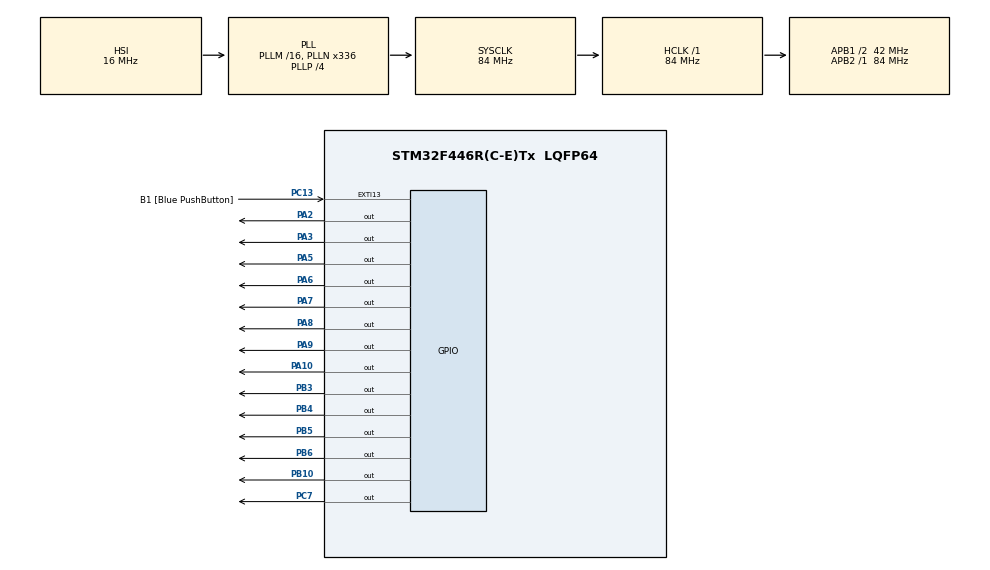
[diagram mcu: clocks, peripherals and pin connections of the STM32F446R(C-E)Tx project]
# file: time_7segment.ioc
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FREERTOS.Tasks01=LED1,0,128,LED1_display,Default,NULL,Dynamic,NULL,NULL;LED2,-3,128,LED2_display,Default,NULL,Dynamic,NULL,NULL;LED3,-3,128,LED3_display,Default,NULL,Dynamic,NULL,NULL;LED4,-3,128,LED4_display,Default,NULL,Dynamic,NULL,NULL;noIncrease,-3,128,StartTask05,Default,NULL,Dynamic,NULL,NULL
FREERTOS.configUSE_NEWLIB_REENTRANT=1
Mcu.Family=STM32F4
Mcu.Name=STM32F446R(C-E)Tx
Mcu.Package=LQFP64
NVIC.PriorityGroup=NVIC_PRIORITYGROUP_4
NVIC.TIM3_IRQn=true\:15\:0\:false\:false\:true\:false\:false\:true\:true
NVIC.TimeBase=TIM3_IRQn
NVIC.TimeBaseIP=TIM3
PA10.Signal=GPIO_Output
PA13.GPIO_Label=TMS
PA13.Mode=Serial_Wire
PA13.Signal=SYS_JTMS-SWDIO
PA14.GPIO_Label=TCK
PA14.Mode=Serial_Wire
PA14.Signal=SYS_JTCK-SWCLK
PA2.Signal=GPIO_Output
PA3.Signal=GPIO_Output
PA5.Signal=GPIO_Output
PA6.Signal=GPIO_Output
PA7.Signal=GPIO_Output
PA8.Signal=GPIO_Output
PA9.Signal=GPIO_Output
PB10.Signal=GPIO_Output
PB3.Signal=GPIO_Output
PB4.Signal=GPIO_Output
PB5.Signal=GPIO_Output
PB6.Signal=GPIO_Output
PC13.GPIO_Label=B1 [Blue PushButton]
PC13.GPIO_ModeDefaultEXTI=GPIO_MODE_IT_FALLING
PC13.Signal=GPXTI13
PC14-OSC32_IN.Mode=LSE-External-Oscillator
PC14-OSC32_IN.Signal=RCC_OSC32_IN
PC15-OSC32_OUT.Mode=LSE-External-Oscillator
PC15-OSC32_OUT.Signal=RCC_OSC32_OUT
PC7.Signal=GPIO_Output
PH0-OSC_IN.Mode=HSE-External-Oscillator
PH0-OSC_IN.Signal=RCC_OSC_IN
PH1-OSC_OUT.Mode=HSE-External-Oscillator
PH1-OSC_OUT.Signal=RCC_OSC_OUT
ProjectManager.HeapSize=0x200
ProjectManager.StackSize=0x400
ProjectManager.TargetToolchain=STM32CubeIDE
RCC.48MHZClocksFreq_Value=84000000
RCC.AHBFreq_Value=84000000
RCC.APB1CLKDivider=RCC_HCLK_DIV2
RCC.APB1Freq_Value=42000000
RCC.APB1TimFreq_Value=84000000
RCC.APB2Freq_Value=84000000
RCC.APB2TimFreq_Value=84000000
RCC.CortexFreq_Value=84000000
RCC.FLatency-AdvancedSettings=FLASH_LATENCY_2
RCC.HCLKFreq_Value=84000000
RCC.HSE_VALUE=8000000
RCC.HSI_VALUE=16000000
RCC.PLLN=336
RCC.PLLP=RCC_PLLP_DIV4
RCC.SYSCLKFreq_VALUE=84000000
RCC.SYSCLKSource=RCC_SYSCLKSOURCE_PLLCLK
RCC.USBFreq_Value=168000000
RCC.VCOOutputFreq_Value=336000000
VP_FREERTOS_VS_CMSIS_V1.Mode=CMSIS_V1
VP_SYS_VS_tim3.Mode=TIM3
board=NUCLEO-F446RE

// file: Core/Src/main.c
/* USER CODE BEGIN Header */
/**
  ******************************************************************************
  * @file           : main.c
  * @brief          : Main program body
  ******************************************************************************
  * @attention
  *
  * Copyright (c) 2023 STMicroelectronics.
  * All rights reserved.
  *
  * This software is licensed under terms that can be found in the LICENSE file
  * in the root directory of this software component.
  * If no LICENSE file comes with this software, it is provided AS-IS.
  *
  ******************************************************************************
  */
/* USER CODE END Header */
#include "main.h"
#include "cmsis_os.h"

/* USER CODE BEGIN PTD */
uint16_t x=0;
/* USER CODE END PTD */

osThreadId LED1Handle;
osThreadId LED2Handle;
osThreadId LED3Handle;
osThreadId LED4Handle;
osThreadId noIncreaseHandle;

void SystemClock_Config(void);
static void MX_GPIO_Init(void);
void LED1_display(void const * argument);
void LED2_display(void const * argument);
void LED3_display(void const * argument);
void LED4_display(void const * argument);
void StartTask05(void const * argument);

/* USER CODE BEGIN 0 */
void allhigh(){
	HAL_GPIO_WritePin(GPIOA, GPIO_PIN_6 | GPIO_PIN_5 | GPIO_PIN_10,GPIO_PIN_SET);
	HAL_GPIO_WritePin(GPIOB, GPIO_PIN_3 | GPIO_PIN_4 |GPIO_PIN_5 | GPIO_PIN_10, GPIO_PIN_SET);
}
void alllow(){
	HAL_GPIO_WritePin(GPIOA, GPIO_PIN_6 | GPIO_PIN_5 | GPIO_PIN_10,GPIO_PIN_RESET);
	HAL_GPIO_WritePin(GPIOB, GPIO_PIN_3 | GPIO_PIN_4 |GPIO_PIN_5 | GPIO_PIN_10, GPIO_PIN_RESET);
}
void display(int x){
	switch (x) {
	  case 0:
		allhigh();
		HAL_GPIO_WritePin(GPIOB, GPIO_PIN_10 ,GPIO_PIN_RESET);
		break;
	  case 1:
	    alllow();
	    HAL_GPIO_WritePin(GPIOA, GPIO_PIN_5 | GPIO_PIN_10 ,GPIO_PIN_SET);
	    break;

	  case 2:
	    allhigh();
	    HAL_GPIO_WritePin(GPIOB, GPIO_PIN_4,GPIO_PIN_RESET);
	    HAL_GPIO_WritePin(GPIOA, GPIO_PIN_10,GPIO_PIN_RESET);
	    break;

	  case 3:
		allhigh();
		HAL_GPIO_WritePin(GPIOB, GPIO_PIN_4 | GPIO_PIN_5,GPIO_PIN_RESET);
	    break;

	  case 4:
		alllow();
		HAL_GPIO_WritePin(GPIOA, GPIO_PIN_5 | GPIO_PIN_10 ,GPIO_PIN_SET);
		HAL_GPIO_WritePin(GPIOB, GPIO_PIN_4 | GPIO_PIN_10 ,GPIO_PIN_SET);
		break;

	  case 5:
		allhigh();
		HAL_GPIO_WritePin(GPIOA, GPIO_PIN_5,GPIO_PIN_RESET);
		HAL_GPIO_WritePin(GPIOB, GPIO_PIN_5,GPIO_PIN_RESET);
		break;

	  case 6:
		allhigh();
		HAL_GPIO_WritePin(GPIOA, GPIO_PIN_5,GPIO_PIN_RESET);
		break;

	  case 7:
		alllow();
		HAL_GPIO_WritePin(GPIOA, GPIO_PIN_5 | GPIO_PIN_6 | GPIO_PIN_10,GPIO_PIN_SET);
		break;

	  case 8:
		allhigh();
		break;

	  case 9:
		allhigh();
		HAL_GPIO_WritePin(GPIOB, GPIO_PIN_5,GPIO_PIN_RESET);
		break;

	  default:
	    alllow();
	    break;
	}
}

/* USER CODE END 0 */

int main(void)
{

  /* MCU Configuration--------------------------------------------------------*/

  /* Reset of all peripherals, Initializes the Flash interface and the Systick. */
  HAL_Init();

  /* Configure the system clock */
  SystemClock_Config();

  /* Initialize all configured peripherals */
  MX_GPIO_Init();

  /* Create the thread(s) */
  /* definition and creation of LED1 */
  osThreadDef(LED1, LED1_display, osPriorityNormal, 0, 128);
  LED1Handle = osThreadCreate(osThread(LED1), NULL);

  /* definition and creation of LED2 */
  osThreadDef(LED2, LED2_display, osPriorityIdle, 0, 128);
  LED2Handle = osThreadCreate(osThread(LED2), NULL);

  /* definition and creation of LED3 */
  osThreadDef(LED3, LED3_display, osPriorityIdle, 0, 128);
  LED3Handle = osThreadCreate(osThread(LED3), NULL);

  /* definition and creation of LED4 */
  osThreadDef(LED4, LED4_display, osPriorityIdle, 0, 128);
  LED4Handle = osThreadCreate(osThread(LED4), NULL);

  /* definition and creation of noIncrease */
  osThreadDef(noIncrease, StartTask05, osPriorityIdle, 0, 128);
  noIncreaseHandle = osThreadCreate(osThread(noIncrease), NULL);

  /* Start scheduler */
  osKernelStart();
  /* We should never get here as control is now taken by the scheduler */
  /* Infinite loop */
  while (1)
  {

  }
}

void SystemClock_Config(void)
{
  RCC_OscInitTypeDef RCC_OscInitStruct = {0};
  RCC_ClkInitTypeDef RCC_ClkInitStruct = {0};

  /** Configure the main internal regulator output voltage
  */
  __HAL_RCC_PWR_CLK_ENABLE();
  __HAL_PWR_VOLTAGESCALING_CONFIG(PWR_REGULATOR_VOLTAGE_SCALE3);

  /** Initializes the RCC Oscillators according to the specified parameters
  * in the RCC_OscInitTypeDef structure.
  */
  RCC_OscInitStruct.OscillatorType = RCC_OSCILLATORTYPE_HSI;
  RCC_OscInitStruct.HSIState = RCC_HSI_ON;
  RCC_OscInitStruct.HSICalibrationValue = RCC_HSICALIBRATION_DEFAULT;
  RCC_OscInitStruct.PLL.PLLState = RCC_PLL_ON;
  RCC_OscInitStruct.PLL.PLLSource = RCC_PLLSOURCE_HSI;
  RCC_OscInitStruct.PLL.PLLM = 16;
  RCC_OscInitStruct.PLL.PLLN = 336;
  RCC_OscInitStruct.PLL.PLLP = RCC_PLLP_DIV4;
  RCC_OscInitStruct.PLL.PLLQ = 2;
  RCC_OscInitStruct.PLL.PLLR = 2;
  if (HAL_RCC_OscConfig(&RCC_OscInitStruct) != HAL_OK)
  {
    Error_Handler();
  }

  /** Initializes the CPU, AHB and APB buses clocks
  */
  RCC_ClkInitStruct.ClockType = RCC_CLOCKTYPE_HCLK|RCC_CLOCKTYPE_SYSCLK
                              |RCC_CLOCKTYPE_PCLK1|RCC_CLOCKTYPE_PCLK2;
  RCC_ClkInitStruct.SYSCLKSource = RCC_SYSCLKSOURCE_PLLCLK;
  RCC_ClkInitStruct.AHBCLKDivider = RCC_SYSCLK_DIV1;
  RCC_ClkInitStruct.APB1CLKDivider = RCC_HCLK_DIV2;
  RCC_ClkInitStruct.APB2CLKDivider = RCC_HCLK_DIV1;

  if (HAL_RCC_ClockConfig(&RCC_ClkInitStruct, FLASH_LATENCY_2) != HAL_OK)
  {
    Error_Handler();
  }
}

static void MX_GPIO_Init(void)
{
  GPIO_InitTypeDef GPIO_InitStruct = {0};

  /* GPIO Ports Clock Enable */
  __HAL_RCC_GPIOC_CLK_ENABLE();
  __HAL_RCC_GPIOH_CLK_ENABLE();
  __HAL_RCC_GPIOA_CLK_ENABLE();
  __HAL_RCC_GPIOB_CLK_ENABLE();

  /*Configure GPIO pin Output Level */
  HAL_GPIO_WritePin(GPIOA, GPIO_PIN_2|GPIO_PIN_3|GPIO_PIN_5|GPIO_PIN_6
                          |GPIO_PIN_7|GPIO_PIN_8|GPIO_PIN_9|GPIO_PIN_10, GPIO_PIN_RESET);

  /*Configure GPIO pin Output Level */
  HAL_GPIO_WritePin(GPIOB, GPIO_PIN_10|GPIO_PIN_3|GPIO_PIN_4|GPIO_PIN_5
                          |GPIO_PIN_6, GPIO_PIN_RESET);

  /*Configure GPIO pin Output Level */
  HAL_GPIO_WritePin(GPIOC, GPIO_PIN_7, GPIO_PIN_RESET);

  /*Configure GPIO pin : B1_Pin */
  GPIO_InitStruct.Pin = B1_Pin;
  GPIO_InitStruct.Mode = GPIO_MODE_IT_FALLING;
  GPIO_InitStruct.Pull = GPIO_NOPULL;
  HAL_GPIO_Init(B1_GPIO_Port, &GPIO_InitStruct);

  /*Configure GPIO pins : PA2 PA3 PA5 PA6
                           PA7 PA8 PA9 PA10 */
  GPIO_InitStruct.Pin = GPIO_PIN_2|GPIO_PIN_3|GPIO_PIN_5|GPIO_PIN_6
                          |GPIO_PIN_7|GPIO_PIN_8|GPIO_PIN_9|GPIO_PIN_10;
  GPIO_InitStruct.Mode = GPIO_MODE_OUTPUT_PP;
  GPIO_InitStruct.Pull = GPIO_NOPULL;
  GPIO_InitStruct.Speed = GPIO_SPEED_FREQ_LOW;
  HAL_GPIO_Init(GPIOA, &GPIO_InitStruct);

  /*Configure GPIO pins : PB10 PB3 PB4 PB5
                           PB6 */
  GPIO_InitStruct.Pin = GPIO_PIN_10|GPIO_PIN_3|GPIO_PIN_4|GPIO_PIN_5
                          |GPIO_PIN_6;
  GPIO_InitStruct.Mode = GPIO_MODE_OUTPUT_PP;
  GPIO_InitStruct.Pull = GPIO_NOPULL;
  GPIO_InitStruct.Speed = GPIO_SPEED_FREQ_LOW;
  HAL_GPIO_Init(GPIOB, &GPIO_InitStruct);

  /*Configure GPIO pin : PC7 */
  GPIO_InitStruct.Pin = GPIO_PIN_7;
  GPIO_InitStruct.Mode = GPIO_MODE_OUTPUT_PP;
  GPIO_InitStruct.Pull = GPIO_NOPULL;
  GPIO_InitStruct.Speed = GPIO_SPEED_FREQ_LOW;
  HAL_GPIO_Init(GPIOC, &GPIO_InitStruct);

}

void LED1_display(void const * argument)
{
  /* USER CODE BEGIN 5 */
  /* Infinite loop */

  for(;;)
  {
	  HAL_GPIO_WritePin(GPIOC, GPIO_PIN_7 ,GPIO_PIN_SET);
	  HAL_GPIO_WritePin(GPIOA, GPIO_PIN_7 ,GPIO_PIN_SET);
	  HAL_GPIO_WritePin(GPIOB, GPIO_PIN_6 ,GPIO_PIN_SET);
	  HAL_GPIO_WritePin(GPIOA, GPIO_PIN_9 ,GPIO_PIN_RESET);
	  display(((x-x%1000)/1000)%10);

	  osDelay(4);
  }
  /* USER CODE END 5 */
}

void LED2_display(void const * argument)
{
  /* USER CODE BEGIN LED2_display */
  /* Infinite loop */
	osDelay(1);
  for(;;)
  {
	  HAL_GPIO_WritePin(GPIOC, GPIO_PIN_7 ,GPIO_PIN_RESET);
	  HAL_GPIO_WritePin(GPIOA, GPIO_PIN_7 ,GPIO_PIN_SET);
	  HAL_GPIO_WritePin(GPIOB, GPIO_PIN_6 ,GPIO_PIN_SET);
	  HAL_GPIO_WritePin(GPIOA, GPIO_PIN_9 ,GPIO_PIN_SET);
	  display(((x-x%100)/100)%10);
	  osDelay(4);
  }
  /* USER CODE END LED2_display */
}

void LED3_display(void const * argument)
{
  /* USER CODE BEGIN LED3_display */
  /* Infinite loop */
	osDelay(2);
  for(;;)
  {
	  HAL_GPIO_WritePin(GPIOC, GPIO_PIN_7 ,GPIO_PIN_SET);
	  HAL_GPIO_WritePin(GPIOA, GPIO_PIN_7 ,GPIO_PIN_SET);
	  HAL_GPIO_WritePin(GPIOB, GPIO_PIN_6 ,GPIO_PIN_RESET);
	  HAL_GPIO_WritePin(GPIOA, GPIO_PIN_9 ,GPIO_PIN_SET);
	  display(((x-x%10)/10)%10);
	  osDelay(4);
  }
  /* USER CODE END LED3_display */
}

void LED4_display(void const * argument)
{
  /* USER CODE BEGIN LED4_display */
  /* Infinite loop */
	osDelay(3);
  for(;;)
  {
	  HAL_GPIO_WritePin(GPIOC, GPIO_PIN_7 ,GPIO_PIN_SET);
	  HAL_GPIO_WritePin(GPIOA, GPIO_PIN_7 ,GPIO_PIN_RESET);
	  HAL_GPIO_WritePin(GPIOB, GPIO_PIN_6 ,GPIO_PIN_SET);
	  HAL_GPIO_WritePin(GPIOA, GPIO_PIN_9 ,GPIO_PIN_SET);
	  display(x%10);
	  osDelay(4);
  }
  /* USER CODE END LED4_display */
}

void StartTask05(void const * argument)
{
  /* USER CODE BEGIN StartTask05 */
  /* Infinite loop */
  for(;;)
  {
	x++;
    osDelay(1000);
  }
  /* USER CODE END StartTask05 */
}

void HAL_TIM_PeriodElapsedCallback(TIM_HandleTypeDef *htim)
{
  if (htim->Instance == TIM3) {
    HAL_IncTick();
  }
}

void Error_Handler(void)
{
  __disable_irq();
  while (1)
  {
  }
}
